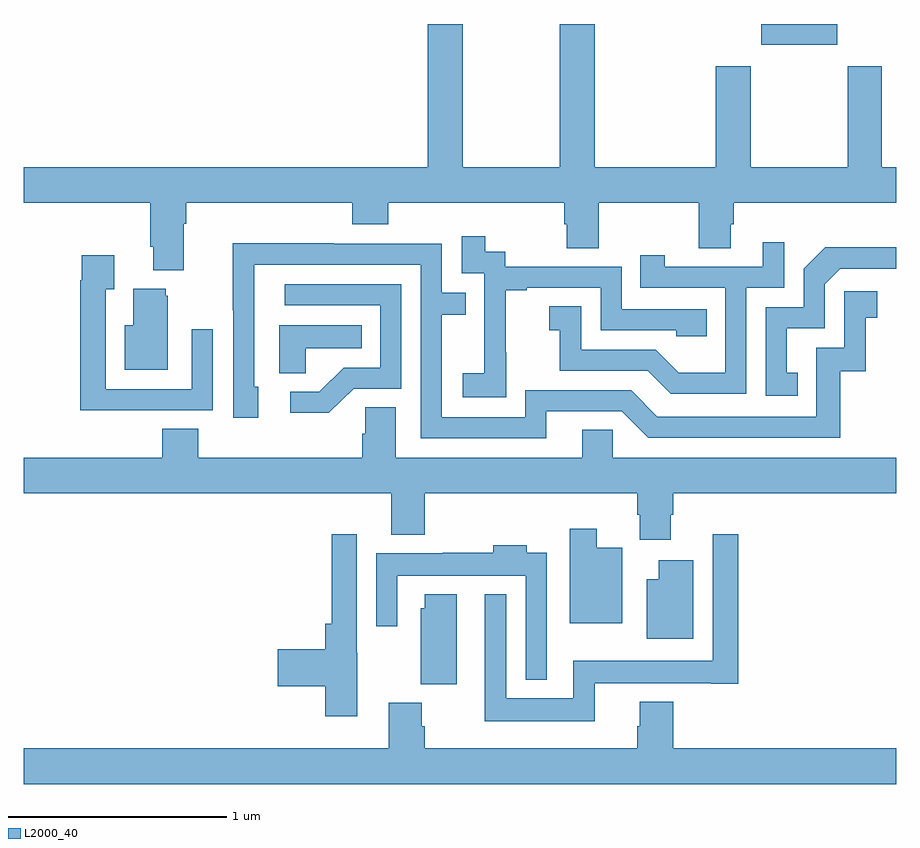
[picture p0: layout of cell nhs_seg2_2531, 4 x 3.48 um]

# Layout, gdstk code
import gdstk
lib = gdstk.Library(unit=1e-6, precision=1e-09)
def R(c, l, rs):  # rectangles x0, y0, x1, y1
    for r in rs: c.add(gdstk.rectangle(r[:2], r[2:], *l))
def P(c, l, *ps):  # polygons
    for p in ps: c.add(gdstk.Polygon(p, *l))
L2000_40 = (2000, 40)

nhs_seg2_2531 = lib.new_cell('nhs_seg2_2531')
R(nhs_seg2_2531, L2000_40, [(246.38,637.706,246.73,637.8)])
P(nhs_seg2_2531, L2000_40, [(246.778,637.606),(246.778,637.144),(246.333,637.144),(246.333,637.606),(246.173,637.606),(246.173,637.144),(245.618,637.144),(245.618,637.8),(245.458,637.8),(245.458,637.144),(245.013,637.144),(245.013,637.8),(244.853,637.8),(244.853,637.144),(243,637.144),(243,636.98),(243.581,636.98),(243.581,636.778),(243.593,636.778),(243.593,636.671),(243.733,636.671),(243.733,636.884),(243.746,636.884),(243.746,636.98),(244.505,636.98),(244.505,636.881),(244.67,636.881),(244.67,636.98),(245.477,636.98),(245.477,636.882),(245.489,636.882),(245.489,636.772),(245.637,636.772),(245.637,636.98),(246.094,636.98),(246.094,636.772),(246.241,636.772),(246.241,636.882),(246.254,636.882),(246.254,636.98),(247,636.98),(247,637.144),(246.933,637.144),(246.933,637.606)],
  [(245.211,636.295),(245.21,636.295),(245.21,636.579),(245.305,636.579),(245.305,636.591),(245.646,636.591),(245.646,636.396),(245.991,636.396),(245.991,636.369),(246.131,636.369),(246.131,636.492),(245.742,636.492),(245.742,636.687),(245.208,636.687),(245.208,636.756),(245.116,636.756),(245.116,636.826),(245.007,636.826),(245.007,636.657),(245.112,636.657),(245.112,636.428),(245.111,636.428),(245.111,636.199),(245.013,636.199),(245.013,636.089),(245.211,636.089)],
  [(246.312,636.591),(246.486,636.591),(246.486,636.799),(246.389,636.799),(246.389,636.687),(245.938,636.687),(245.938,636.739),(245.827,636.739),(245.827,636.591),(246.216,636.591),(246.216,636.202),(246.002,636.202),(245.898,636.306),(245.556,636.306),(245.556,636.505),(245.409,636.505),(245.409,636.395),(245.458,636.395),(245.458,636.21),(245.861,636.21),(245.966,636.105),(246.312,636.105)],
  [(245.395,636.024),(245.742,636.024),(245.862,635.904),(246.742,635.904),(246.742,636.207),(246.86,636.207),(246.86,636.453),(246.913,636.453),(246.913,636.574),(246.762,636.574),(246.762,636.315),(246.633,636.315),(246.633,636),(245.904,636),(245.784,636.12),(245.298,636.12),(245.298,635.997),(244.917,635.997),(244.917,636.466),(245.027,636.466),(245.027,636.567),(244.917,636.567),(244.917,636.792),(244.421,636.792),(244.421,636.794),(243.958,636.794),(243.958,636.487),(243.96,636.487),(243.96,635.994),(244.075,635.994),(244.075,636.138),(244.056,636.138),(244.056,636.696),(244.821,636.696),(244.821,635.901),(245.395,635.901)],
  [(246.548,636.201),(246.499,636.201),(246.499,636.405),(246.672,636.405),(246.672,636.606),(246.744,636.678),(247,636.678),(247,636.776),(246.674,636.776),(246.576,636.678),(246.576,636.501),(246.402,636.501),(246.402,636.096),(246.548,636.096)],
  [(243.551,636.03),(243.867,636.03),(243.867,636.4),(243.771,636.4),(243.771,636.126),(243.375,636.126),(243.375,636.583),(243.415,636.583),(243.415,636.739),(243.267,636.739),(243.267,636.626),(243.259,636.626),(243.259,636.029),(243.551,636.029)],
  [(244.512,636.129),(244.731,636.129),(244.731,636.606),(244.197,636.606),(244.197,636.51),(244.635,636.51),(244.635,636.225),(244.466,636.225),(244.355,636.114),(244.221,636.114),(244.221,636.017),(244.399,636.017)],
  [(243.661,636.555),(243.65,636.555),(243.65,636.586),(243.503,636.586),(243.503,636.418),(243.464,636.418),(243.464,636.215),(243.661,636.215)],
  [(244.293,636.314),(244.55,636.314),(244.55,636.418),(244.172,636.418),(244.172,636.199),(244.293,636.199)],
  [(245.7,635.939),(245.561,635.939),(245.561,635.812),(244.705,635.812),(244.705,636.044),(244.566,636.044),(244.566,635.921),(244.553,635.921),(244.553,635.812),(243.8,635.812),(243.8,635.945),(243.635,635.945),(243.635,635.812),(243,635.812),(243,635.648),(244.685,635.648),(244.685,635.459),(244.838,635.459),(244.838,635.648),(245.813,635.648),(245.813,635.55),(245.825,635.55),(245.825,635.436),(245.965,635.436),(245.965,635.55),(245.978,635.55),(245.978,635.648),(247,635.648),(247,635.812),(245.7,635.812)],
  [(245.743,635.398),(245.626,635.398),(245.626,635.485),(245.504,635.485),(245.504,635.054),(245.743,635.054)],
  [(244.528,634.917),(244.527,634.917),(244.527,635.461),(244.411,635.461),(244.411,635.05),(244.382,635.05),(244.382,634.934),(244.164,634.934),(244.164,634.763),(244.382,634.763),(244.382,634.626),(244.528,634.626)],
  [(245.618,634.778),(246.152,634.778),(246.152,634.776),(246.275,634.776),(246.275,635.461),(246.159,635.461),(246.159,634.882),(245.52,634.882),(245.52,634.708),(245.211,634.708),(245.211,635.185),(245.114,635.185),(245.114,634.604),(245.618,634.604)],
  [(245.397,635.377),(245.305,635.377),(245.305,635.41),(245.153,635.41),(245.153,635.377),(244.921,635.377),(244.921,635.374),(244.617,635.374),(244.617,635.04),(244.713,635.04),(244.713,635.27),(245.301,635.27),(245.301,634.793),(245.397,634.793)],
  [(246.07,635.341),(245.912,635.341),(245.912,635.254),(245.855,635.254),(245.855,634.982),(246.07,634.982)],
  [(244.984,635.185),(244.838,635.185),(244.838,635.121),(244.82,635.121),(244.82,634.774),(244.984,634.774)],
  [(244.825,634.58),(244.825,634.689),(244.673,634.689),(244.673,634.48),(243,634.48),(243,634.316),(247,634.316),(247,634.48),(245.978,634.48),(245.978,634.693),(245.825,634.693),(245.825,634.581),(245.813,634.581),(245.813,634.48),(244.838,634.48),(244.838,634.58)])

lib.write_gds('nhs_seg2_2531.gds')
